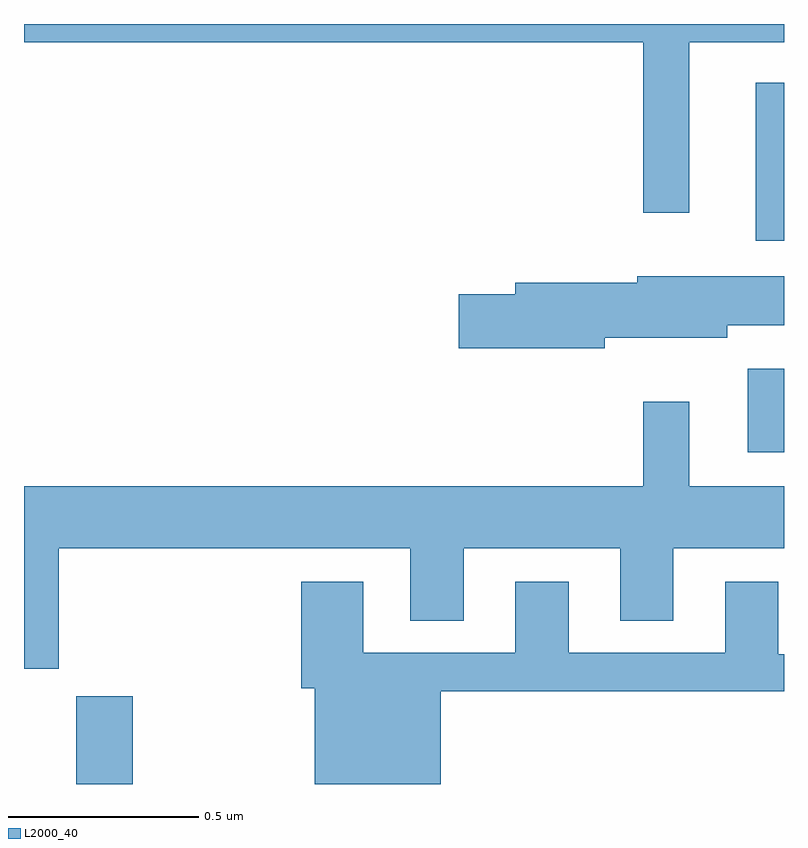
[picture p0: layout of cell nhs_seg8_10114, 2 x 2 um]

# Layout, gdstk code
import gdstk
lib = gdstk.Library(unit=1e-6, precision=1e-09)
def R(c, l, rs):  # rectangles x0, y0, x1, y1
    for r in rs: c.add(gdstk.rectangle(r[:2], r[2:], *l))
def P(c, l, *ps):  # polygons
    for p in ps: c.add(gdstk.Polygon(p, *l))
L2000_40 = (2000, 40)

nhs_seg8_10114 = lib.new_cell('nhs_seg8_10114')
R(nhs_seg8_10114, L2000_40, [(245.138,1095.9,245.286,1096.131), (246.905,1096.773,247,1096.993), (246.926,1097.33,247,1097.746)])
P(nhs_seg8_10114, L2000_40, [(246.751,1097.852),(247,1097.852),(247,1097.9),(245,1097.9),(245,1097.852),(246.63,1097.852),(246.63,1097.403),(246.751,1097.403)],
  [(246.528,1097.075),(246.85,1097.075),(246.85,1097.107),(247,1097.107),(247,1097.236),(246.614,1097.236),(246.614,1097.219),(246.293,1097.219),(246.293,1097.189),(246.144,1097.189),(246.144,1097.047),(246.528,1097.047)],
  [(245.092,1096.52),(246.017,1096.52),(246.017,1096.33),(246.157,1096.33),(246.157,1096.52),(246.569,1096.52),(246.569,1096.33),(246.709,1096.33),(246.709,1096.52),(247,1096.52),(247,1096.684),(246.751,1096.684),(246.751,1096.906),(246.63,1096.906),(246.63,1096.684),(245,1096.684),(245,1096.203),(245.092,1096.203)],
  [(246.097,1096.144),(247,1096.144),(247,1096.242),(246.985,1096.242),(246.985,1096.432),(246.845,1096.432),(246.845,1096.245),(246.433,1096.245),(246.433,1096.432),(246.293,1096.432),(246.293,1096.245),(245.893,1096.245),(245.893,1096.432),(245.729,1096.432),(245.729,1096.152),(245.765,1096.152),(245.765,1095.9),(246.097,1095.9)])

lib.write_gds('nhs_seg8_10114.gds')
